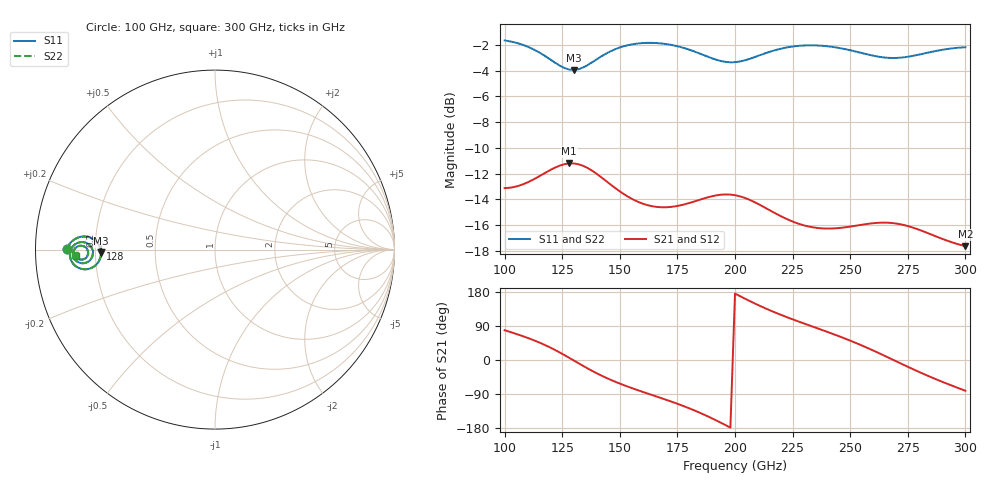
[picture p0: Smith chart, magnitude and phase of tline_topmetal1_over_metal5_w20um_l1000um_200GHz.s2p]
#  GHZ S DB R 50
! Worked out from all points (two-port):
!   101 points, 100 GHz to 300 GHz, reference 50 ohm
!   highest |S21| = -11.20 dB at 128 GHz (marker M1); lowest = -17.6 dB at 300 GHz (marker M2)
!   |S21| within 3 dB of the highest: start of sweep to 158.2 GHz; 181.5 GHz to 208.4 GHz (26.94 GHz wide, 13.8 % of centre)
!   lowest |S11| = -4.0 dB at 130 GHz (marker M3), VSWR 4.47, Z = 11.2 - j0.734 ohm
!   |S11| at or under -10 dB: nowhere
!   |S22| runs from -3.9 to -1.7 dB; largest |S21 - S12| = 2.8e-14
!   S11 on the Smith chart (normalised r, x): 100 GHz: 0.10, +0.00; 128 GHz: 0.22, +0.00; 300 GHz: 0.13, -0.02
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100  -1.66 179.9  -13.12 78.6  -13.12 78.6  -1.66 179.9
108  -2.00 176.3  -12.82 62.7  -12.82 62.7  -2.00 176.4
116  -2.69 174.2  -12.10 43.6  -12.10 43.6  -2.69 174.3
122  -3.40 175.2  -11.52 26.1  -11.52 26.1  -3.39 175.3
128  -3.92 179.7  -11.20 5.9  -11.20 5.9  -3.90 179.8
130  -3.95 -178.2  -11.20 -1.2  -11.20 -1.2  -3.94 -178.1
134  -3.76 -174.4  -11.38 -15.3  -11.38 -15.3  -3.75 -174.4
140  -3.12 -171.5  -12.02 -35.0  -12.02 -35.0  -3.10 -171.5
146  -2.50 -171.7  -12.84 -52.2  -12.84 -52.2  -2.49 -171.7
156  -1.94 -175.1  -14.02 -75.8  -14.02 -75.8  -1.93 -175.1
168  -1.89 -179.7  -14.61 -100.6  -14.61 -100.6  -1.89 -179.6
184  -2.63 176.7  -14.06 -137.3  -14.06 -137.3  -2.61 176.8
192  -3.16 178.2  -13.68 -159.9  -13.68 -159.9  -3.15 178.3
200  -3.35 -177.8  -13.67 175.3  -13.67 175.3  -3.32 -177.7
208  -2.99 -174.6  -14.16 150.9  -14.16 150.9  -2.96 -174.6
214  -2.60 -174.1  -14.73 134.2  -14.73 134.2  -2.58 -174.1
224  -2.16 -175.8  -15.64 109.6  -15.64 109.6  -2.14 -175.8
234  -2.04 -178.4  -16.17 87.5  -16.17 87.5  -2.03 -178.4
252  -2.50 178.4  -16.05 46.1  -16.05 46.1  -2.49 178.4
268  -3.02 -178.8  -15.83 2.3  -15.83 2.3  -3.00 -178.9
284  -2.60 -175.7  -16.63 -42.5  -16.63 -42.5  -2.58 -175.7
300  -2.19 -177.5  -17.63 -81.2  -17.63 -81.2  -2.18 -177.6
